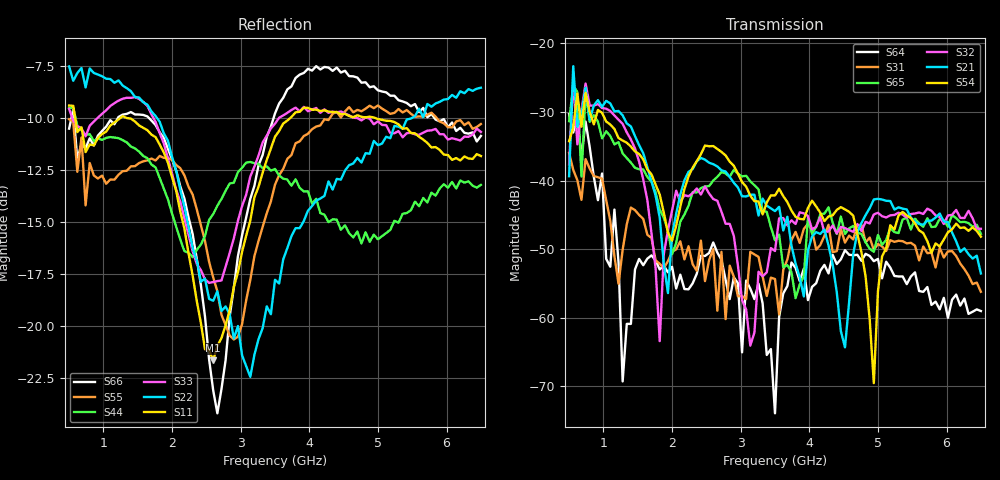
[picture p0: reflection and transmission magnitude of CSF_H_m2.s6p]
!Keysight Technologies,M9804A,MY58100912,A.14.10.03
!Date: Thursday, April 27, 2023 10:28:33
!Correction: S11(C  6-Port  )
!S12(C  6-Port  )
!S13(C  6-Port  )
!S14(C  6-Port  )
!S15(C  6-Port  )
!S16(C  6-Port  )
!S21(C  6-Port  )
!S22(C  6-Port  )
!S23(C  6-Port  )
!S24(C  6-Port  )
!S25(C  6-Port  )
!S26(C  6-Port  )
!S31(C  6-Port  )
!S32(C  6-Port  )
!S33(C  6-Port  )
!S34(C  6-Port  )
!S35(C  6-Port  )
!S36(C  6-Port  )
!S41(C  6-Port  )
!S42(C  6-Port  )
!S43(C  6-Port  )
!S44(C  6-Port  )
!S45(C  6-Port  )
!S46(C  6-Port  )
!S51(C  6-Port  )
!S52(C  6-Port  )
!S53(C  6-Port  )
!S54(C  6-Port  )
!S55(C  6-Port  )
!S56(C  6-Port  )
!S61(C  6-Port  )
!S62(C  6-Port  )
!S63(C  6-Port  )
!S64(C  6-Port  )
!S65(C  6-Port  )
!S66(C  6-Port  )
!S6P File: Measurement: :
# Hz S  RI  R 50
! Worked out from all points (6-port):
!   101 points, 500 MHz to 6.5 GHz, reference 50 ohm
!   strongest paths, dB at 500 MHz, 2 GHz, 3.5 GHz, 5 GHz, 6.5 GHz:
!     S54: -34.3, -48.8, -42.2, -56.1, -48.2
!     S21: -39.4, -47.9, -44.5, -42.7, -53.5
!     S32: -37.6, -44.4, -50.3, -44.7, -47.0
!     S65: -31.4, -50.7, -48.7, -47.9, -47.8
!     S31: -36.0, -50.4, -54.4, -49.2, -56.2
!     S64: -30.3, -52.6, -73.9, -51.4, -59.0
!   lowest |S11| = -21.6 dB at 2.6 GHz (marker M1), VSWR 1.18, Z = 42.6 + j2.04 ohm
!   |S11| at or under -10 dB: 588.7 MHz to 1.24 GHz (651.6 MHz wide, 71.3 % of centre); 1.377 GHz to 3.716 GHz (2.339 GHz wide, 91.8 % of centre); 4.973 GHz to end of sweep
